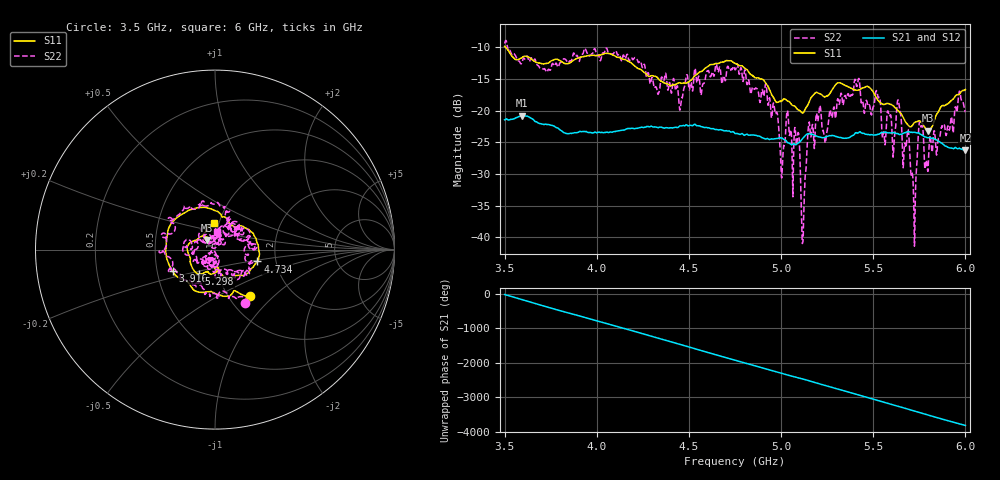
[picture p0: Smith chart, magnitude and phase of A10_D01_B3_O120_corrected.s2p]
! Created with skrf 1.9.0 (http://scikit-rf.org).
# Hz S RI R 50.0
!freq ReS11 ImS11 ReS21 ImS21 ReS12 ImS12 ReS22 ImS22
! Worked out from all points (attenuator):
!   1601 points, 3.5 GHz to 6 GHz, reference 50 ohm
!   highest |S21| = -20.79 dB at 3.592 GHz (marker M1); lowest = -26.2 dB at 6 GHz (marker M2)
!   lowest |S11| = -23.2 dB at 5.795 GHz (marker M3), VSWR 1.15, Z = 45.6 + j4.96 ohm
!   |S11| at or under -10 dB: 3.506 GHz to end of sweep
!   |S22| runs from -41.4 to -8.9 dB; largest |S21 - S12| = 0.0013
!   S11 on the Smith chart (normalised r, x): 3.5 GHz: 1.25, -0.72; 3.916 GHz: 0.60, -0.16; 4.734 GHz: 1.60, -0.22; 5.298 GHz: 0.81, -0.22; 6 GHz: 0.94, +0.28
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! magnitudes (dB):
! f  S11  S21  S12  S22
! 3.5 GHz  -9.8  -21.4  -21.4  -9.4
! 3.592 GHz  -11.6  -20.8  -20.8  -12.5
! 3.916 GHz  -11.5  -23.3  -23.3  -11.2
! 3.917 GHz  -11.5  -23.3  -23.3  -11.1
! 4.334 GHz  -14.9  -22.7  -22.6  -17.3
! 4.734 GHz  -12.2  -23.3  -23.4  -13.5
! 4.75 GHz  -12.5  -23.6  -23.6  -13.5
! 4.925 GHz  -16.0  -24.4  -24.4  -17.9
! 5.005 GHz  -18.4  -24.3  -24.3  -30.1
! 5.036 GHz  -18.5  -25.1  -25.0  -20.1
! 5.086 GHz  -19.7  -25.3  -25.3  -25.2
! 5.117 GHz  -20.3  -24.4  -24.4  -40.8
! 5.145 GHz  -19.1  -23.6  -23.6  -23.5
! 5.167 GHz  -17.8  -23.7  -23.7  -22.7
! 5.298 GHz  -15.8  -24.1  -24.1  -20.7
! 5.412 GHz  -16.8  -23.5  -23.6  -16.2
! 5.584 GHz  -18.9  -23.5  -23.5  -20.5
! 5.641 GHz  -20.2  -23.8  -23.7  -19.2
! 5.719 GHz  -22.0  -23.4  -23.4  -33.5
! 5.756 GHz  -21.7  -23.7  -23.7  -22.3
! 5.795 GHz  -23.2  -24.3  -24.3  -29.5
! 6 GHz  -16.6  -26.2  -26.2  -20.2
